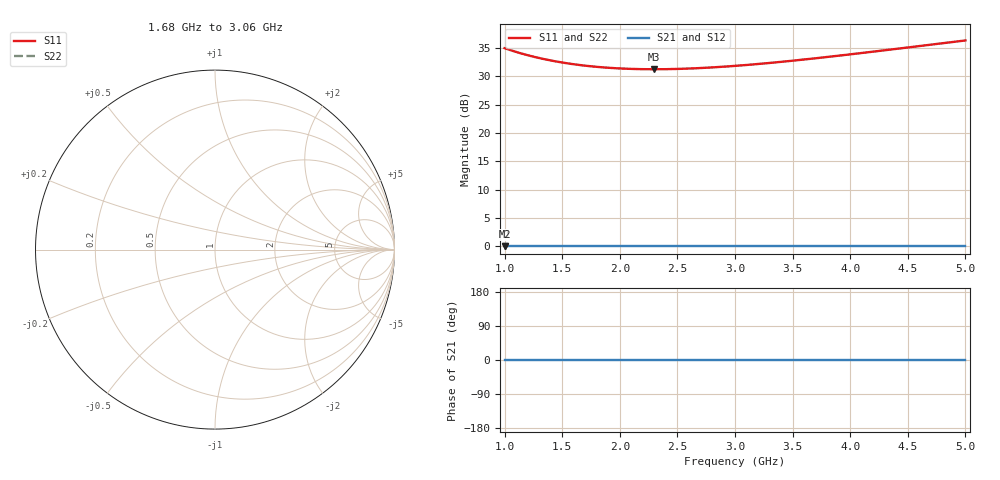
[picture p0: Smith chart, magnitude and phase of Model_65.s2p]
# GHZ S RI R 50
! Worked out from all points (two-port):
!   401 points, 1 GHz to 5 GHz, reference 50 ohm
!   highest |S21| = 0.00 dB at 1 GHz (marker M1); lowest = 0.0 dB at 1 GHz (marker M2)
!   |S21| within 3 dB of the highest: start of sweep to end of sweep
!   lowest |S11| = 31.2 dB at 2.3 GHz (marker M3)
!   |S11| at or under -10 dB: nowhere
!   |S22| runs from 31.2 to 36.3 dB; largest |S21 - S12| = 0
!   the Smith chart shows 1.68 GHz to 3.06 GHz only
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1  55.86 0  1 0  1 0  55.86 0
1.15  49.99 0  1 0  1 0  49.99 0
1.22  47.83 0  1 0  1 0  47.83 0
1.3  45.72 0  1 0  1 0  45.72 0
1.38  43.93 0  1 0  1 0  43.93 0
1.47  42.24 0  1 0  1 0  42.24 0
1.57  40.69 0  1 0  1 0  40.69 0
1.67  39.45 0  1 0  1 0  39.45 0
1.82  38.06 0  1 0  1 0  38.06 0
1.97  37.14 0  1 0  1 0  37.14 0
2.13  36.58 0  1 0  1 0  36.58 0
2.3  36.4 0  1 0  1 0  36.4 0
2.34  36.41 0  1 0  1 0  36.41 0
2.5  36.64 0  1 0  1 0  36.64 0
2.66  37.14 0  1 0  1 0  37.14 0
3  38.97 0  1 0  1 0  38.97 0
3.33  41.63 0  1 0  1 0  41.63 0
3.67  45.16 0  1 0  1 0  45.16 0
4  49.26 0  1 0  1 0  49.26 0
4.34  54.13 0  1 0  1 0  54.13 0
4.63  58.78 0  1 0  1 0  58.78 0
5  65.34 0  1 0  1 0  65.34 0
